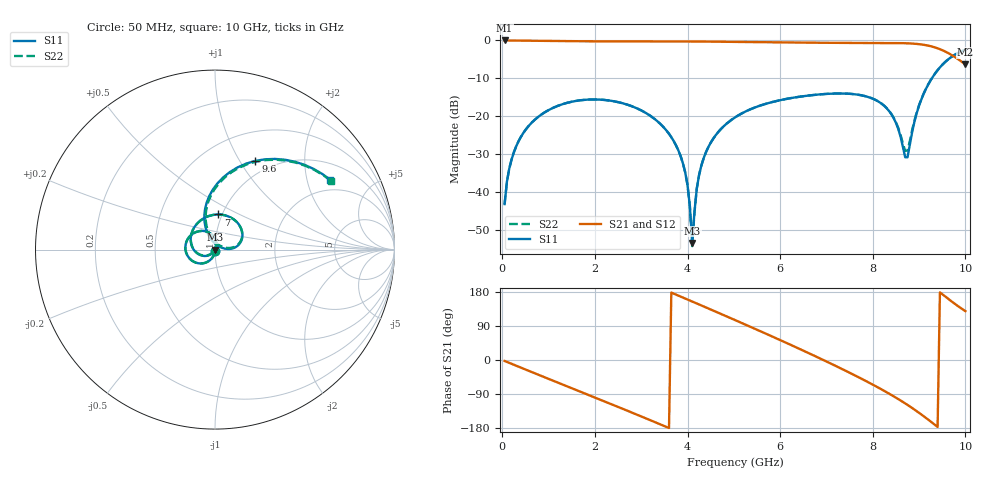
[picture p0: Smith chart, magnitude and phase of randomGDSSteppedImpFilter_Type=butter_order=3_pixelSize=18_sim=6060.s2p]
! freq	dB(S11)	phase(S11)	dB(S12)	phase(S12)
!  dB(S21)	phase(S21)	dB(S22)	phase(S22)
!S-par simulation data
#  GHz  S  DB  R 50
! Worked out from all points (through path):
!   200 points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, 50 MHz to 10 GHz, reference 50 ohm
!   highest |S21| = 0.00 dB at 50 MHz (marker M1); lowest = -6.3 dB at 10 GHz (marker M2)
!   group delay of S21, straight-line fit = 157 ps
!   lowest |S11| = -53.5 dB at 4.1 GHz (marker M3), VSWR 1.00, Z = 50.2 - j0.0516 ohm
!   |S11| at or under -10 dB: start of sweep to 9.277 GHz
!   |S22| runs from -54.4 to -2.5 dB; largest |S21 - S12| = 0
!   S11 on the Smith chart (normalised r, x): 50 MHz: 1.00, -0.01; 7 GHz: 0.96, +0.39; 9.6 GHz: 0.83, +1.17; 10 GHz: 1.56, +2.79
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0.05  -43.25 -91.5  -0.00 -2.5  -0.00 -2.5  -43.25 -91.5
0.2  -31.48 -99.5  -0.02 -10.1  -0.02 -10.1  -31.49 -99.5
0.5  -23.66 -115.5  -0.05 -25.1  -0.05 -25.1  -23.66 -115.5
1.75  -15.73 -177.8  -0.22 -86.8  -0.22 -86.8  -15.73 -177.5
2.5  -16.30 145.0  -0.25 -123.8  -0.25 -123.8  -16.30 145.5
3.4  -21.91 99.0  -0.24 -169.3  -0.24 -169.3  -21.91 100.5
3.9  -32.45 70.7  -0.25 164.9  -0.25 164.9  -32.44 76.5
4  -38.25 62.1  -0.26 159.6  -0.26 159.6  -38.25 73.9
4.05  -43.74 53.0  -0.26 157.0  -0.26 157.0  -43.79 76.3
4.1  -53.53 -14.1  -0.27 154.4  -0.27 154.4  -54.37 140.0
4.2  -39.11 -114.3  -0.28 149.2  -0.28 149.2  -39.16 -127.6
4.35  -31.05 -126.7  -0.29 141.3  -0.29 141.3  -31.06 -131.9
5.05  -20.14 -166.1  -0.38 104.1  -0.38 104.1  -20.14 -167.6
5.8  -16.37 152.6  -0.49 63.6  -0.49 63.6  -16.37 151.9
6.7  -14.44 101.8  -0.60 13.4  -0.60 13.4  -14.44 101.7
7  -14.13 84.5  -0.63 -3.9  -0.63 -3.9  -14.13 84.7
7.65  -14.29 46.5  -0.67 -42.8  -0.67 -42.8  -14.28 47.2
8.35  -18.63 7.1  -0.68 -88.6  -0.68 -88.6  -18.57 9.5
8.75  -30.89 75.3  -0.76 -118.5  -0.76 -118.5  -29.09 72.1
9.05  -15.55 110.5  -1.06 -143.9  -1.06 -143.9  -15.45 107.8
9.6  -5.30 65.5  -3.15 164.2  -3.15 164.2  -5.29 64.6
10  -2.49 31.1  -6.34 128.8  -6.34 128.8  -2.48 30.6
